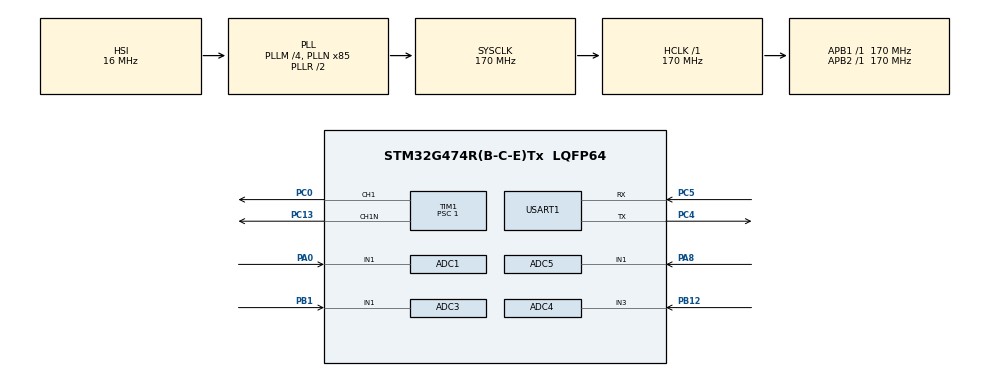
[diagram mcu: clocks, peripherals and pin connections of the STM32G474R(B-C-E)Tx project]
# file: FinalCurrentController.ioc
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ADC1.Channel-0\#ChannelRegularConversion=ADC_CHANNEL_1
ADC1.ClockPrescaler=ADC_CLOCK_ASYNC_DIV4
ADC1.ContinuousConvMode=ENABLE
ADC1.NbrOfConversionFlag=1
ADC1.OffsetNumber-0\#ChannelRegularConversion=ADC_OFFSET_NONE
ADC1.OversamplingMode=ENABLE
ADC1.Rank-0\#ChannelRegularConversion=1
ADC1.Ratio=ADC_OVERSAMPLING_RATIO_8
ADC1.SamplingTime-0\#ChannelRegularConversion=ADC_SAMPLETIME_2CYCLES_5
ADC1.master=1
ADC3.Channel-0\#ChannelRegularConversion=ADC_CHANNEL_1
ADC3.ClockPrescaler=ADC_CLOCK_ASYNC_DIV4
ADC3.ContinuousConvMode=ENABLE
ADC3.NbrOfConversionFlag=1
ADC3.OffsetNumber-0\#ChannelRegularConversion=ADC_OFFSET_NONE
ADC3.OversamplingMode=ENABLE
ADC3.Rank-0\#ChannelRegularConversion=1
ADC3.Ratio=ADC_OVERSAMPLING_RATIO_256
ADC3.RightBitShift=ADC_RIGHTBITSHIFT_4
ADC3.SamplingTime-0\#ChannelRegularConversion=ADC_SAMPLETIME_2CYCLES_5
ADC3.master=1
ADC4.Channel-0\#ChannelRegularConversion=ADC_CHANNEL_3
ADC4.ClockPrescaler=ADC_CLOCK_ASYNC_DIV4
ADC4.ContinuousConvMode=ENABLE
ADC4.NbrOfConversionFlag=1
ADC4.OffsetNumber-0\#ChannelRegularConversion=ADC_OFFSET_NONE
ADC4.OversamplingMode=ENABLE
ADC4.Rank-0\#ChannelRegularConversion=1
ADC4.Ratio=ADC_OVERSAMPLING_RATIO_256
ADC4.RightBitShift=ADC_RIGHTBITSHIFT_4
ADC4.SamplingTime-0\#ChannelRegularConversion=ADC_SAMPLETIME_2CYCLES_5
ADC5.Channel-0\#ChannelRegularConversion=ADC_CHANNEL_1
ADC5.ClockPrescaler=ADC_CLOCK_ASYNC_DIV4
ADC5.ContinuousConvMode=ENABLE
ADC5.NbrOfConversion=1
ADC5.NbrOfConversionFlag=1
ADC5.OffsetNumber-0\#ChannelRegularConversion=ADC_OFFSET_NONE
ADC5.OversamplingMode=ENABLE
ADC5.Rank-0\#ChannelRegularConversion=1
ADC5.Ratio=ADC_OVERSAMPLING_RATIO_256
ADC5.RightBitShift=ADC_RIGHTBITSHIFT_4
ADC5.SamplingTime-0\#ChannelRegularConversion=ADC_SAMPLETIME_2CYCLES_5
Mcu.Family=STM32G4
Mcu.Name=STM32G474R(B-C-E)Tx
Mcu.Package=LQFP64
NVIC.PriorityGroup=NVIC_PRIORITYGROUP_4
NVIC.TIM2_IRQn=true\:0\:0\:false\:false\:true\:true\:true\:true
PA0.Mode=IN1-Single-Ended
PA0.Signal=ADC1_IN1
PA8.Mode=IN1-Single-Ended
PA8.Signal=ADC5_IN1
PB1.Mode=IN1-Single-Ended
PB1.Signal=ADC3_IN1
PB12.Mode=IN3-Single-Ended
PB12.Signal=ADC4_IN3
PC0.Signal=S_TIM1_CH1
PC13.Mode=PWM Generation1 CH1 CH1N
PC13.Signal=TIM1_CH1N
PC4.Mode=Asynchronous
PC4.Signal=USART1_TX
PC5.Mode=Asynchronous
PC5.Signal=USART1_RX
ProjectManager.HeapSize=0x200
ProjectManager.StackSize=0x400
ProjectManager.TargetToolchain=STM32CubeIDE
RCC.ADC12Freq_Value=170000000
RCC.ADC345Freq_Value=170000000
RCC.AHBFreq_Value=170000000
RCC.APB1Freq_Value=170000000
RCC.APB1TimFreq_Value=170000000
RCC.APB2Freq_Value=170000000
RCC.APB2TimFreq_Value=170000000
RCC.CortexFreq_Value=170000000
RCC.EXTERNAL_CLOCK_VALUE=12288000
RCC.HCLKFreq_Value=170000000
RCC.HSE_VALUE=8000000
RCC.HSI48_VALUE=48000000
RCC.HSI_VALUE=16000000
RCC.LSE_VALUE=32768
RCC.PLLM=RCC_PLLM_DIV4
RCC.PLLN=85
RCC.SYSCLKFreq_VALUE=170000000
RCC.SYSCLKSource=RCC_SYSCLKSOURCE_PLLCLK
RCC.USBFreq_Value=170000000
RCC.VCOOutputFreq_Value=340000000
SH.S_TIM1_CH1.0=TIM1_CH1,PWM Generation1 CH1 CH1N
TIM1.AutoReloadPreload=TIM_AUTORELOAD_PRELOAD_ENABLE
TIM1.Channel-PWM\ Generation1\ CH1\ CH1N=TIM_CHANNEL_1
TIM1.DeadTime=200
TIM1.PeriodNoDither=1700
TIM1.Prescaler=1
TIM1.PulseNoDither_1=0
TIM2.Channel-PWM\ Generation1\ No\ Output=TIM_CHANNEL_1
TIM2.PeriodNoDither=4500
TIM2.Prescaler=0
TIM2.PulseNoDither_1=2250
USART1.VirtualMode-Asynchronous=VM_ASYNC
VP_SYS_VS_DBSignals.Mode=DisableDeadBatterySignals
VP_TIM1_VS_ClockSourceINT.Mode=Internal
VP_TIM2_VS_ClockSourceINT.Mode=Internal
VP_TIM2_VS_no_output1.Mode=PWM Generation1 No Output
board=custom

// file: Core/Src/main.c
/* USER CODE BEGIN Header */
/**
 ******************************************************************************
 * @file           : main.c
 * @brief          : Main program body
 ******************************************************************************
 * @attention
 *
 * Copyright (c) 2024 STMicroelectronics.
 * All rights reserved.
 *
 * This software is licensed under terms that can be found in the LICENSE file
 * in the root directory of this software component.
 * If no LICENSE file comes with this software, it is provided AS-IS.
 *
 ******************************************************************************
 */
/* USER CODE END Header */
#include "main.h"

ADC_HandleTypeDef hadc1;
ADC_HandleTypeDef hadc3;
ADC_HandleTypeDef hadc4;
ADC_HandleTypeDef hadc5;

TIM_HandleTypeDef htim1;
TIM_HandleTypeDef htim2;

UART_HandleTypeDef huart1;

/* USER CODE BEGIN PV */
int ta = 0, ca = 0, cia = 0;
double tv = 0.0;
double tr = 0, t = 0;
double cma = 0;

int va = 0;
double InVoltage = 0.0;
double InCurr = 0.0;
int targetCurrentma = 10000;
int currentma = 0, currPWM = 0;
/* USER CODE END PV */

void SystemClock_Config(void);
static void MX_GPIO_Init(void);
static void MX_TIM1_Init(void);
static void MX_ADC1_Init(void);
static void MX_ADC3_Init(void);
static void MX_ADC4_Init(void);
static void MX_ADC5_Init(void);
static void MX_TIM2_Init(void);
static void MX_USART1_UART_Init(void);

int main(void)
{

  /* MCU Configuration--------------------------------------------------------*/

  /* Reset of all peripherals, Initializes the Flash interface and the Systick. */
  HAL_Init();

  /* Configure the system clock */
  SystemClock_Config();

  /* Initialize all configured peripherals */
  MX_GPIO_Init();
  MX_TIM1_Init();
  MX_ADC1_Init();
  MX_ADC3_Init();
  MX_ADC4_Init();
  MX_ADC5_Init();
  MX_TIM2_Init();
  MX_USART1_UART_Init();
  /* USER CODE BEGIN 2 */
  HAL_ADCEx_Calibration_Start(&hadc1, ADC_SINGLE_ENDED);
  HAL_ADCEx_Calibration_Start(&hadc3, ADC_SINGLE_ENDED);
  HAL_ADCEx_Calibration_Start(&hadc4, ADC_SINGLE_ENDED);
  HAL_ADCEx_Calibration_Start(&hadc5, ADC_SINGLE_ENDED);

	HAL_TIM_PWM_Start(&htim1, TIM_CHANNEL_1);
	HAL_TIMEx_PWMN_Start(&htim1, TIM_CHANNEL_1);
	HAL_TIM_PWM_Start_IT(&htim2, TIM_CHANNEL_1);

  /* USER CODE END 2 */

  /* Infinite loop */
	while (1) {

    /* USER CODE BEGIN 3 */
		char d[200];
		sprintf(d, "Temperature: %dC\tVoltage: %dV\tInput Current: %dmA\tOutput Current: %dmA\n", (int)t, (int)InVoltage, (int)InCurr, currentma);
				//HAL_UART_Transmit(&huart1, d, strlen(d), 10);
		HAL_UART_Transmit(&huart1, d, strlen(d), 100);
		HAL_Delay(200);

	}
  /* USER CODE END 3 */
}

void SystemClock_Config(void)
{
  RCC_OscInitTypeDef RCC_OscInitStruct = {0};
  RCC_ClkInitTypeDef RCC_ClkInitStruct = {0};

  /** Configure the main internal regulator output voltage
  */
  HAL_PWREx_ControlVoltageScaling(PWR_REGULATOR_VOLTAGE_SCALE1_BOOST);

  /** Initializes the RCC Oscillators according to the specified parameters
  * in the RCC_OscInitTypeDef structure.
  */
  RCC_OscInitStruct.OscillatorType = RCC_OSCILLATORTYPE_HSI;
  RCC_OscInitStruct.HSIState = RCC_HSI_ON;
  RCC_OscInitStruct.HSICalibrationValue = RCC_HSICALIBRATION_DEFAULT;
  RCC_OscInitStruct.PLL.PLLState = RCC_PLL_ON;
  RCC_OscInitStruct.PLL.PLLSource = RCC_PLLSOURCE_HSI;
  RCC_OscInitStruct.PLL.PLLM = RCC_PLLM_DIV4;
  RCC_OscInitStruct.PLL.PLLN = 85;
  RCC_OscInitStruct.PLL.PLLP = RCC_PLLP_DIV2;
  RCC_OscInitStruct.PLL.PLLQ = RCC_PLLQ_DIV2;
  RCC_OscInitStruct.PLL.PLLR = RCC_PLLR_DIV2;
  if (HAL_RCC_OscConfig(&RCC_OscInitStruct) != HAL_OK)
  {
    Error_Handler();
  }

  /** Initializes the CPU, AHB and APB buses clocks
  */
  RCC_ClkInitStruct.ClockType = RCC_CLOCKTYPE_HCLK|RCC_CLOCKTYPE_SYSCLK
                              |RCC_CLOCKTYPE_PCLK1|RCC_CLOCKTYPE_PCLK2;
  RCC_ClkInitStruct.SYSCLKSource = RCC_SYSCLKSOURCE_PLLCLK;
  RCC_ClkInitStruct.AHBCLKDivider = RCC_SYSCLK_DIV1;
  RCC_ClkInitStruct.APB1CLKDivider = RCC_HCLK_DIV1;
  RCC_ClkInitStruct.APB2CLKDivider = RCC_HCLK_DIV1;

  if (HAL_RCC_ClockConfig(&RCC_ClkInitStruct, FLASH_LATENCY_4) != HAL_OK)
  {
    Error_Handler();
  }
}

static void MX_ADC1_Init(void)
{

  ADC_MultiModeTypeDef multimode = {0};
  ADC_ChannelConfTypeDef sConfig = {0};

  /** Common config
  */
  hadc1.Instance = ADC1;
  hadc1.Init.ClockPrescaler = ADC_CLOCK_ASYNC_DIV4;
  hadc1.Init.Resolution = ADC_RESOLUTION_12B;
  hadc1.Init.DataAlign = ADC_DATAALIGN_RIGHT;
  hadc1.Init.GainCompensation = 0;
  hadc1.Init.ScanConvMode = ADC_SCAN_DISABLE;
  hadc1.Init.EOCSelection = ADC_EOC_SINGLE_CONV;
  hadc1.Init.LowPowerAutoWait = DISABLE;
  hadc1.Init.ContinuousConvMode = ENABLE;
  hadc1.Init.NbrOfConversion = 1;
  hadc1.Init.DiscontinuousConvMode = DISABLE;
  hadc1.Init.ExternalTrigConv = ADC_SOFTWARE_START;
  hadc1.Init.ExternalTrigConvEdge = ADC_EXTERNALTRIGCONVEDGE_NONE;
  hadc1.Init.DMAContinuousRequests = DISABLE;
  hadc1.Init.Overrun = ADC_OVR_DATA_PRESERVED;
  hadc1.Init.OversamplingMode = ENABLE;
  hadc1.Init.Oversampling.Ratio = ADC_OVERSAMPLING_RATIO_8;
  hadc1.Init.Oversampling.RightBitShift = ADC_RIGHTBITSHIFT_NONE;
  hadc1.Init.Oversampling.TriggeredMode = ADC_TRIGGEREDMODE_SINGLE_TRIGGER;
  hadc1.Init.Oversampling.OversamplingStopReset = ADC_REGOVERSAMPLING_CONTINUED_MODE;
  if (HAL_ADC_Init(&hadc1) != HAL_OK)
  {
    Error_Handler();
  }

  /** Configure the ADC multi-mode
  */
  multimode.Mode = ADC_MODE_INDEPENDENT;
  if (HAL_ADCEx_MultiModeConfigChannel(&hadc1, &multimode) != HAL_OK)
  {
    Error_Handler();
  }

  /** Configure Regular Channel
  */
  sConfig.Channel = ADC_CHANNEL_1;
  sConfig.Rank = ADC_REGULAR_RANK_1;
  sConfig.SamplingTime = ADC_SAMPLETIME_2CYCLES_5;
  sConfig.SingleDiff = ADC_SINGLE_ENDED;
  sConfig.OffsetNumber = ADC_OFFSET_NONE;
  sConfig.Offset = 0;
  if (HAL_ADC_ConfigChannel(&hadc1, &sConfig) != HAL_OK)
  {
    Error_Handler();
  }

}

static void MX_ADC3_Init(void)
{

  ADC_MultiModeTypeDef multimode = {0};
  ADC_ChannelConfTypeDef sConfig = {0};

  /** Common config
  */
  hadc3.Instance = ADC3;
  hadc3.Init.ClockPrescaler = ADC_CLOCK_ASYNC_DIV4;
  hadc3.Init.Resolution = ADC_RESOLUTION_12B;
  hadc3.Init.DataAlign = ADC_DATAALIGN_RIGHT;
  hadc3.Init.GainCompensation = 0;
  hadc3.Init.ScanConvMode = ADC_SCAN_DISABLE;
  hadc3.Init.EOCSelection = ADC_EOC_SINGLE_CONV;
  hadc3.Init.LowPowerAutoWait = DISABLE;
  hadc3.Init.ContinuousConvMode = ENABLE;
  hadc3.Init.NbrOfConversion = 1;
  hadc3.Init.DiscontinuousConvMode = DISABLE;
  hadc3.Init.ExternalTrigConv = ADC_SOFTWARE_START;
  hadc3.Init.ExternalTrigConvEdge = ADC_EXTERNALTRIGCONVEDGE_NONE;
  hadc3.Init.DMAContinuousRequests = DISABLE;
  hadc3.Init.Overrun = ADC_OVR_DATA_PRESERVED;
  hadc3.Init.OversamplingMode = ENABLE;
  hadc3.Init.Oversampling.Ratio = ADC_OVERSAMPLING_RATIO_256;
  hadc3.Init.Oversampling.RightBitShift = ADC_RIGHTBITSHIFT_4;
  hadc3.Init.Oversampling.TriggeredMode = ADC_TRIGGEREDMODE_SINGLE_TRIGGER;
  hadc3.Init.Oversampling.OversamplingStopReset = ADC_REGOVERSAMPLING_CONTINUED_MODE;
  if (HAL_ADC_Init(&hadc3) != HAL_OK)
  {
    Error_Handler();
  }

  /** Configure the ADC multi-mode
  */
  multimode.Mode = ADC_MODE_INDEPENDENT;
  if (HAL_ADCEx_MultiModeConfigChannel(&hadc3, &multimode) != HAL_OK)
  {
    Error_Handler();
  }

  /** Configure Regular Channel
  */
  sConfig.Channel = ADC_CHANNEL_1;
  sConfig.Rank = ADC_REGULAR_RANK_1;
  sConfig.SamplingTime = ADC_SAMPLETIME_2CYCLES_5;
  sConfig.SingleDiff = ADC_SINGLE_ENDED;
  sConfig.OffsetNumber = ADC_OFFSET_NONE;
  sConfig.Offset = 0;
  if (HAL_ADC_ConfigChannel(&hadc3, &sConfig) != HAL_OK)
  {
    Error_Handler();
  }

}

static void MX_ADC4_Init(void)
{

  ADC_ChannelConfTypeDef sConfig = {0};

  /** Common config
  */
  hadc4.Instance = ADC4;
  hadc4.Init.ClockPrescaler = ADC_CLOCK_ASYNC_DIV4;
  hadc4.Init.Resolution = ADC_RESOLUTION_12B;
  hadc4.Init.DataAlign = ADC_DATAALIGN_RIGHT;
  hadc4.Init.GainCompensation = 0;
  hadc4.Init.ScanConvMode = ADC_SCAN_DISABLE;
  hadc4.Init.EOCSelection = ADC_EOC_SINGLE_CONV;
  hadc4.Init.LowPowerAutoWait = DISABLE;
  hadc4.Init.ContinuousConvMode = ENABLE;
  hadc4.Init.NbrOfConversion = 1;
  hadc4.Init.DiscontinuousConvMode = DISABLE;
  hadc4.Init.ExternalTrigConv = ADC_SOFTWARE_START;
  hadc4.Init.ExternalTrigConvEdge = ADC_EXTERNALTRIGCONVEDGE_NONE;
  hadc4.Init.DMAContinuousRequests = DISABLE;
  hadc4.Init.Overrun = ADC_OVR_DATA_PRESERVED;
  hadc4.Init.OversamplingMode = ENABLE;
  hadc4.Init.Oversampling.Ratio = ADC_OVERSAMPLING_RATIO_256;
  hadc4.Init.Oversampling.RightBitShift = ADC_RIGHTBITSHIFT_4;
  hadc4.Init.Oversampling.TriggeredMode = ADC_TRIGGEREDMODE_SINGLE_TRIGGER;
  hadc4.Init.Oversampling.OversamplingStopReset = ADC_REGOVERSAMPLING_CONTINUED_MODE;
  if (HAL_ADC_Init(&hadc4) != HAL_OK)
  {
    Error_Handler();
  }

  /** Configure Regular Channel
  */
  sConfig.Channel = ADC_CHANNEL_3;
  sConfig.Rank = ADC_REGULAR_RANK_1;
  sConfig.SamplingTime = ADC_SAMPLETIME_2CYCLES_5;
  sConfig.SingleDiff = ADC_SINGLE_ENDED;
  sConfig.OffsetNumber = ADC_OFFSET_NONE;
  sConfig.Offset = 0;
  if (HAL_ADC_ConfigChannel(&hadc4, &sConfig) != HAL_OK)
  {
    Error_Handler();
  }

}

static void MX_ADC5_Init(void)
{

  ADC_ChannelConfTypeDef sConfig = {0};

  /** Common config
  */
  hadc5.Instance = ADC5;
  hadc5.Init.ClockPrescaler = ADC_CLOCK_ASYNC_DIV4;
  hadc5.Init.Resolution = ADC_RESOLUTION_12B;
  hadc5.Init.DataAlign = ADC_DATAALIGN_RIGHT;
  hadc5.Init.GainCompensation = 0;
  hadc5.Init.ScanConvMode = ADC_SCAN_DISABLE;
  hadc5.Init.EOCSelection = ADC_EOC_SINGLE_CONV;
  hadc5.Init.LowPowerAutoWait = DISABLE;
  hadc5.Init.ContinuousConvMode = ENABLE;
  hadc5.Init.NbrOfConversion = 1;
  hadc5.Init.DiscontinuousConvMode = DISABLE;
  hadc5.Init.ExternalTrigConv = ADC_SOFTWARE_START;
  hadc5.Init.ExternalTrigConvEdge = ADC_EXTERNALTRIGCONVEDGE_NONE;
  hadc5.Init.DMAContinuousRequests = DISABLE;
  hadc5.Init.Overrun = ADC_OVR_DATA_PRESERVED;
  hadc5.Init.OversamplingMode = ENABLE;
  hadc5.Init.Oversampling.Ratio = ADC_OVERSAMPLING_RATIO_256;
  hadc5.Init.Oversampling.RightBitShift = ADC_RIGHTBITSHIFT_4;
  hadc5.Init.Oversampling.TriggeredMode = ADC_TRIGGEREDMODE_SINGLE_TRIGGER;
  hadc5.Init.Oversampling.OversamplingStopReset = ADC_REGOVERSAMPLING_CONTINUED_MODE;
  if (HAL_ADC_Init(&hadc5) != HAL_OK)
  {
    Error_Handler();
  }

  /** Configure Regular Channel
  */
  sConfig.Channel = ADC_CHANNEL_1;
  sConfig.Rank = ADC_REGULAR_RANK_1;
  sConfig.SamplingTime = ADC_SAMPLETIME_2CYCLES_5;
  sConfig.SingleDiff = ADC_SINGLE_ENDED;
  sConfig.OffsetNumber = ADC_OFFSET_NONE;
  sConfig.Offset = 0;
  if (HAL_ADC_ConfigChannel(&hadc5, &sConfig) != HAL_OK)
  {
    Error_Handler();
  }

}

static void MX_TIM1_Init(void)
{

  TIM_ClockConfigTypeDef sClockSourceConfig = {0};
  TIM_MasterConfigTypeDef sMasterConfig = {0};
  TIM_OC_InitTypeDef sConfigOC = {0};
  TIM_BreakDeadTimeConfigTypeDef sBreakDeadTimeConfig = {0};

  htim1.Instance = TIM1;
  htim1.Init.Prescaler = 1;
  htim1.Init.CounterMode = TIM_COUNTERMODE_UP;
  htim1.Init.Period = 1700;
  htim1.Init.ClockDivision = TIM_CLOCKDIVISION_DIV1;
  htim1.Init.RepetitionCounter = 0;
  htim1.Init.AutoReloadPreload = TIM_AUTORELOAD_PRELOAD_ENABLE;
  if (HAL_TIM_Base_Init(&htim1) != HAL_OK)
  {
    Error_Handler();
  }
  sClockSourceConfig.ClockSource = TIM_CLOCKSOURCE_INTERNAL;
  if (HAL_TIM_ConfigClockSource(&htim1, &sClockSourceConfig) != HAL_OK)
  {
    Error_Handler();
  }
  if (HAL_TIM_PWM_Init(&htim1) != HAL_OK)
  {
    Error_Handler();
  }
  sMasterConfig.MasterOutputTrigger = TIM_TRGO_RESET;
  sMasterConfig.MasterOutputTrigger2 = TIM_TRGO2_RESET;
  sMasterConfig.MasterSlaveMode = TIM_MASTERSLAVEMODE_DISABLE;
  if (HAL_TIMEx_MasterConfigSynchronization(&htim1, &sMasterConfig) != HAL_OK)
  {
    Error_Handler();
  }
  sConfigOC.OCMode = TIM_OCMODE_PWM1;
  sConfigOC.Pulse = 0;
  sConfigOC.OCPolarity = TIM_OCPOLARITY_HIGH;
  sConfigOC.OCNPolarity = TIM_OCNPOLARITY_HIGH;
  sConfigOC.OCFastMode = TIM_OCFAST_DISABLE;
  sConfigOC.OCIdleState = TIM_OCIDLESTATE_RESET;
  sConfigOC.OCNIdleState = TIM_OCNIDLESTATE_RESET;
  if (HAL_TIM_PWM_ConfigChannel(&htim1, &sConfigOC, TIM_CHANNEL_1) != HAL_OK)
  {
    Error_Handler();
  }
  sBreakDeadTimeConfig.OffStateRunMode = TIM_OSSR_DISABLE;
  sBreakDeadTimeConfig.OffStateIDLEMode = TIM_OSSI_DISABLE;
  sBreakDeadTimeConfig.LockLevel = TIM_LOCKLEVEL_OFF;
  sBreakDeadTimeConfig.DeadTime = 200;
  sBreakDeadTimeConfig.BreakState = TIM_BREAK_DISABLE;
  sBreakDeadTimeConfig.BreakPolarity = TIM_BREAKPOLARITY_HIGH;
  sBreakDeadTimeConfig.BreakFilter = 0;
  sBreakDeadTimeConfig.BreakAFMode = TIM_BREAK_AFMODE_INPUT;
  sBreakDeadTimeConfig.Break2State = TIM_BREAK2_DISABLE;
  sBreakDeadTimeConfig.Break2Polarity = TIM_BREAK2POLARITY_HIGH;
  sBreakDeadTimeConfig.Break2Filter = 0;
  sBreakDeadTimeConfig.Break2AFMode = TIM_BREAK_AFMODE_INPUT;
  sBreakDeadTimeConfig.AutomaticOutput = TIM_AUTOMATICOUTPUT_DISABLE;
  if (HAL_TIMEx_ConfigBreakDeadTime(&htim1, &sBreakDeadTimeConfig) != HAL_OK)
  {
    Error_Handler();
  }
  HAL_TIM_MspPostInit(&htim1);

}

static void MX_TIM2_Init(void)
{

  TIM_ClockConfigTypeDef sClockSourceConfig = {0};
  TIM_MasterConfigTypeDef sMasterConfig = {0};
  TIM_OC_InitTypeDef sConfigOC = {0};

  htim2.Instance = TIM2;
  htim2.Init.Prescaler = 0;
  htim2.Init.CounterMode = TIM_COUNTERMODE_UP;
  htim2.Init.Period = 4500;
  htim2.Init.ClockDivision = TIM_CLOCKDIVISION_DIV1;
  htim2.Init.AutoReloadPreload = TIM_AUTORELOAD_PRELOAD_DISABLE;
  if (HAL_TIM_Base_Init(&htim2) != HAL_OK)
  {
    Error_Handler();
  }
  sClockSourceConfig.ClockSource = TIM_CLOCKSOURCE_INTERNAL;
  if (HAL_TIM_ConfigClockSource(&htim2, &sClockSourceConfig) != HAL_OK)
  {
    Error_Handler();
  }
  if (HAL_TIM_PWM_Init(&htim2) != HAL_OK)
  {
    Error_Handler();
  }
  sMasterConfig.MasterOutputTrigger = TIM_TRGO_RESET;
  sMasterConfig.MasterSlaveMode = TIM_MASTERSLAVEMODE_DISABLE;
  if (HAL_TIMEx_MasterConfigSynchronization(&htim2, &sMasterConfig) != HAL_OK)
  {
    Error_Handler();
  }
  sConfigOC.OCMode = TIM_OCMODE_PWM1;
  sConfigOC.Pulse = 2250;
  sConfigOC.OCPolarity = TIM_OCPOLARITY_HIGH;
  sConfigOC.OCFastMode = TIM_OCFAST_DISABLE;
  if (HAL_TIM_PWM_ConfigChannel(&htim2, &sConfigOC, TIM_CHANNEL_1) != HAL_OK)
  {
    Error_Handler();
  }

}

static void MX_USART1_UART_Init(void)
{

  huart1.Instance = USART1;
  huart1.Init.BaudRate = 115200;
  huart1.Init.WordLength = UART_WORDLENGTH_8B;
  huart1.Init.StopBits = UART_STOPBITS_1;
  huart1.Init.Parity = UART_PARITY_NONE;
  huart1.Init.Mode = UART_MODE_TX_RX;
  huart1.Init.HwFlowCtl = UART_HWCONTROL_NONE;
  huart1.Init.OverSampling = UART_OVERSAMPLING_16;
  huart1.Init.OneBitSampling = UART_ONE_BIT_SAMPLE_DISABLE;
  huart1.Init.ClockPrescaler = UART_PRESCALER_DIV1;
  huart1.AdvancedInit.AdvFeatureInit = UART_ADVFEATURE_NO_INIT;
  if (HAL_UART_Init(&huart1) != HAL_OK)
  {
    Error_Handler();
  }
  if (HAL_UARTEx_SetTxFifoThreshold(&huart1, UART_TXFIFO_THRESHOLD_1_8) != HAL_OK)
  {
    Error_Handler();
  }
  if (HAL_UARTEx_SetRxFifoThreshold(&huart1, UART_RXFIFO_THRESHOLD_1_8) != HAL_OK)
  {
    Error_Handler();
  }
  if (HAL_UARTEx_DisableFifoMode(&huart1) != HAL_OK)
  {
    Error_Handler();
  }

}

static void MX_GPIO_Init(void)
{

  /* GPIO Ports Clock Enable */
  __HAL_RCC_GPIOC_CLK_ENABLE();
  __HAL_RCC_GPIOA_CLK_ENABLE();
  __HAL_RCC_GPIOB_CLK_ENABLE();

}

void Error_Handler(void)
{
	__disable_irq();
	while (1) {
	}
}
